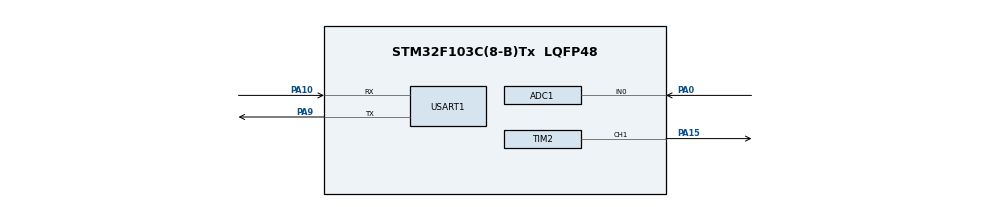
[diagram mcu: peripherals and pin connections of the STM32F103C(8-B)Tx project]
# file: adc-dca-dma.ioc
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ADC1.Channel-0\#ChannelRegularConversion=ADC_CHANNEL_0
ADC1.NbrOfConversionFlag=1
ADC1.Rank-0\#ChannelRegularConversion=1
ADC1.SamplingTime-0\#ChannelRegularConversion=ADC_SAMPLETIME_1CYCLE_5
ADC1.master=1
Dma.Request0=USART1_RX
Dma.USART1_RX.0.Direction=DMA_PERIPH_TO_MEMORY
Dma.USART1_RX.0.Instance=DMA1_Channel5
Dma.USART1_RX.0.MemDataAlignment=DMA_MDATAALIGN_BYTE
Dma.USART1_RX.0.MemInc=DMA_MINC_ENABLE
Dma.USART1_RX.0.Mode=DMA_CIRCULAR
Dma.USART1_RX.0.PeriphDataAlignment=DMA_PDATAALIGN_BYTE
Dma.USART1_RX.0.PeriphInc=DMA_PINC_DISABLE
Dma.USART1_RX.0.Priority=DMA_PRIORITY_LOW
Mcu.Family=STM32F1
Mcu.Name=STM32F103C(8-B)Tx
Mcu.Package=LQFP48
NVIC.DMA1_Channel5_IRQn=true\:0\:0\:false\:false\:true\:false\:true\:true
NVIC.PriorityGroup=NVIC_PRIORITYGROUP_4
NVIC.USART1_IRQn=true\:0\:0\:false\:false\:true\:true\:true\:true
PA0-WKUP.Signal=ADCx_IN0
PA10.Mode=Asynchronous
PA10.Signal=USART1_RX
PA13.Mode=Serial_Wire
PA13.Signal=SYS_JTMS-SWDIO
PA14.Mode=Serial_Wire
PA14.Signal=SYS_JTCK-SWCLK
PA15.Signal=S_TIM2_CH1_ETR
PA9.Mode=Asynchronous
PA9.Signal=USART1_TX
ProjectManager.HeapSize=0x200
ProjectManager.StackSize=0x400
ProjectManager.TargetToolchain=STM32CubeIDE
RCC.APB1Freq_Value=8000000
RCC.APB2Freq_Value=8000000
SH.ADCx_IN0.0=ADC1_IN0,IN0
SH.S_TIM2_CH1_ETR.0=TIM2_CH1,PWM Generation1 CH1
TIM2.Channel-PWM\ Generation1\ CH1=TIM_CHANNEL_1
TIM2.Period=255
USART1.VirtualMode=VM_ASYNC
board=custom

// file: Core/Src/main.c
/* USER CODE BEGIN Header */
/**
  ******************************************************************************
  * @file           : main.c
  * @brief          : Main program body
  ******************************************************************************
  */
/* USER CODE END Header */
#include "main.h"

/* USER CODE BEGIN Includes */
#include <stdio.h>
#include <string.h>
/* USER CODE END Includes */

/* USER CODE BEGIN PD */
/* Resistor de 10k em série com o LDR para o divisor de tensão */
#define R_FIXED 10000.0f
/* USER CODE END PD */

ADC_HandleTypeDef hadc1;

TIM_HandleTypeDef htim2;

UART_HandleTypeDef huart1;
DMA_HandleTypeDef hdma_usart1_rx;

/* USER CODE BEGIN PV */
uint16_t adc_raw = 0;
float r_ldr = 0.0f;
uint8_t res = 0; // Palavra digital de controle

// Look-up-table e buffer para DMA
uint8_t digipot_lut[256];
uint8_t uart_dma_rx_buffer[257];
/* USER CODE END PV */

void SystemClock_Config(void);
static void MX_GPIO_Init(void);
static void MX_DMA_Init(void);
static void MX_ADC1_Init(void);
static void MX_TIM2_Init(void);
static void MX_USART1_UART_Init(void);
/* USER CODE BEGIN PFP */
void Init_Default_LUT(void);
/* USER CODE END PFP */

int main(void)
{

  /* MCU Configuration--------------------------------------------------------*/

  /* Reset of all peripherals, Initializes the Flash interface and the Systick. */
  HAL_Init();

  /* Configure the system clock */
  SystemClock_Config();

  /* Initialize all configured peripherals */
  MX_GPIO_Init();
  MX_DMA_Init();
  MX_ADC1_Init();
  MX_TIM2_Init();
  MX_USART1_UART_Init();
  /* USER CODE BEGIN 2 */

  // Inicializa a LUT com uma curva linear padrão
  Init_Default_LUT();

  // Inicia o PWM (DAC) para controlar o brilho do LED acoplado ao LDR
  HAL_TIM_PWM_Start(&htim2, TIM_CHANNEL_1);

  // Inicia o modo circular de recepção UART via DMA para sobreescrever a LUT
  HAL_UART_Receive_DMA(&huart1, uart_dma_rx_buffer, 257);

  /* USER CODE END 2 */

  /* Infinite loop */
  /* USER CODE BEGIN WHILE */
  while (1)
  {
    /* 1. Atuação no PWM com base na LUT e na variável 'res' */
    uint8_t pwm_duty = digipot_lut[res];
    __HAL_TIM_SET_COMPARE(&htim2, TIM_CHANNEL_1, pwm_duty);

    /* 2. Leitura do ADC do divisor de tensão LDR + Resistor */
    HAL_ADC_Start(&hadc1);
    if (HAL_ADC_PollForConversion(&hadc1, 10) == HAL_OK)
    {
      adc_raw = HAL_ADC_GetValue(&hadc1);

      // Cálculo da resistência do LDR em função da tensão medida
      if (adc_raw > 0 && adc_raw < 4095)
      {
        r_ldr = R_FIXED * ((4095.0f / (float)adc_raw) - 1.0f);

        // Cria um texto formatado com os valores para envio
        char msg[100];
        sprintf(msg, "Entrada(res): %3d | PWM: %3d | ADC: %4d | Res LDR: %.2f Ohms\r\n", res, pwm_duty, adc_raw, r_ldr);

        // Envia o texto pela UART para exibição no computador
        HAL_UART_Transmit(&huart1, (uint8_t*)msg, strlen(msg), 100);
      }
    }
    HAL_ADC_Stop(&hadc1);

    // Delay de 2 segundos. Permite estabilização do LDR e tempo para aferição com multímetro
    HAL_Delay(2000);
    /* USER CODE END WHILE */

  }
}

void SystemClock_Config(void)
{
  RCC_OscInitTypeDef RCC_OscInitStruct = {0};
  RCC_ClkInitTypeDef RCC_ClkInitStruct = {0};
  RCC_PeriphCLKInitTypeDef PeriphClkInit = {0};

  /** Initializes the RCC Oscillators according to the specified parameters
  * in the RCC_OscInitTypeDef structure.
  */
  RCC_OscInitStruct.OscillatorType = RCC_OSCILLATORTYPE_HSI;
  RCC_OscInitStruct.HSIState = RCC_HSI_ON;
  RCC_OscInitStruct.HSICalibrationValue = RCC_HSICALIBRATION_DEFAULT;
  RCC_OscInitStruct.PLL.PLLState = RCC_PLL_NONE;
  if (HAL_RCC_OscConfig(&RCC_OscInitStruct) != HAL_OK)
  {
    Error_Handler();
  }

  /** Initializes the CPU, AHB and APB buses clocks
  */
  RCC_ClkInitStruct.ClockType = RCC_CLOCKTYPE_HCLK|RCC_CLOCKTYPE_SYSCLK
                              |RCC_CLOCKTYPE_PCLK1|RCC_CLOCKTYPE_PCLK2;
  RCC_ClkInitStruct.SYSCLKSource = RCC_SYSCLKSOURCE_HSI;
  RCC_ClkInitStruct.AHBCLKDivider = RCC_SYSCLK_DIV1;
  RCC_ClkInitStruct.APB1CLKDivider = RCC_HCLK_DIV1;
  RCC_ClkInitStruct.APB2CLKDivider = RCC_HCLK_DIV1;

  if (HAL_RCC_ClockConfig(&RCC_ClkInitStruct, FLASH_LATENCY_0) != HAL_OK)
  {
    Error_Handler();
  }
  PeriphClkInit.PeriphClockSelection = RCC_PERIPHCLK_ADC;
  PeriphClkInit.AdcClockSelection = RCC_ADCPCLK2_DIV2;
  if (HAL_RCCEx_PeriphCLKConfig(&PeriphClkInit) != HAL_OK)
  {
    Error_Handler();
  }
}

static void MX_ADC1_Init(void)
{

  ADC_ChannelConfTypeDef sConfig = {0};

  /** Common config
  */
  hadc1.Instance = ADC1;
  hadc1.Init.ScanConvMode = ADC_SCAN_DISABLE;
  hadc1.Init.ContinuousConvMode = DISABLE;
  hadc1.Init.DiscontinuousConvMode = DISABLE;
  hadc1.Init.ExternalTrigConv = ADC_SOFTWARE_START;
  hadc1.Init.DataAlign = ADC_DATAALIGN_RIGHT;
  hadc1.Init.NbrOfConversion = 1;
  if (HAL_ADC_Init(&hadc1) != HAL_OK)
  {
    Error_Handler();
  }

  /** Configure Regular Channel
  */
  sConfig.Channel = ADC_CHANNEL_0;
  sConfig.Rank = ADC_REGULAR_RANK_1;
  sConfig.SamplingTime = ADC_SAMPLETIME_1CYCLE_5;
  if (HAL_ADC_ConfigChannel(&hadc1, &sConfig) != HAL_OK)
  {
    Error_Handler();
  }

}

static void MX_TIM2_Init(void)
{

  TIM_MasterConfigTypeDef sMasterConfig = {0};
  TIM_OC_InitTypeDef sConfigOC = {0};

  htim2.Instance = TIM2;
  htim2.Init.Prescaler = 0;
  htim2.Init.CounterMode = TIM_COUNTERMODE_UP;
  htim2.Init.Period = 255;
  htim2.Init.ClockDivision = TIM_CLOCKDIVISION_DIV1;
  htim2.Init.AutoReloadPreload = TIM_AUTORELOAD_PRELOAD_DISABLE;
  if (HAL_TIM_PWM_Init(&htim2) != HAL_OK)
  {
    Error_Handler();
  }
  sMasterConfig.MasterOutputTrigger = TIM_TRGO_RESET;
  sMasterConfig.MasterSlaveMode = TIM_MASTERSLAVEMODE_DISABLE;
  if (HAL_TIMEx_MasterConfigSynchronization(&htim2, &sMasterConfig) != HAL_OK)
  {
    Error_Handler();
  }
  sConfigOC.OCMode = TIM_OCMODE_PWM1;
  sConfigOC.Pulse = 0;
  sConfigOC.OCPolarity = TIM_OCPOLARITY_HIGH;
  sConfigOC.OCFastMode = TIM_OCFAST_DISABLE;
  if (HAL_TIM_PWM_ConfigChannel(&htim2, &sConfigOC, TIM_CHANNEL_1) != HAL_OK)
  {
    Error_Handler();
  }
  HAL_TIM_MspPostInit(&htim2);

}

static void MX_USART1_UART_Init(void)
{

  huart1.Instance = USART1;
  huart1.Init.BaudRate = 9600;
  huart1.Init.WordLength = UART_WORDLENGTH_8B;
  huart1.Init.StopBits = UART_STOPBITS_1;
  huart1.Init.Parity = UART_PARITY_NONE;
  huart1.Init.Mode = UART_MODE_TX_RX;
  huart1.Init.HwFlowCtl = UART_HWCONTROL_NONE;
  huart1.Init.OverSampling = UART_OVERSAMPLING_16;
  if (HAL_UART_Init(&huart1) != HAL_OK)
  {
    Error_Handler();
  }

}

static void MX_DMA_Init(void)
{

  /* DMA controller clock enable */
  __HAL_RCC_DMA1_CLK_ENABLE();

  /* DMA interrupt init */
  /* DMA1_Channel5_IRQn interrupt configuration */
  HAL_NVIC_SetPriority(DMA1_Channel5_IRQn, 0, 0);
  HAL_NVIC_EnableIRQ(DMA1_Channel5_IRQn);

}

static void MX_GPIO_Init(void)
{

  /* GPIO Ports Clock Enable */
  __HAL_RCC_GPIOA_CLK_ENABLE();

}

/* USER CODE BEGIN 4 */
/**
  * @brief  Callback de recepção completa do DMA para a UART
  */
void HAL_UART_RxCpltCallback(UART_HandleTypeDef *huart)
{
  if (huart->Instance == USART1)
  {
    // Transfere os 256 bytes da calibração para a LUT
    for(int i = 0; i < 256; i++)
    {
      digipot_lut[i] = uart_dma_rx_buffer[i];
    }
    // O byte extra no final do pacote é a sua ordem de brilho!
    res = uart_dma_rx_buffer[256];
  }
}
/**
  * @brief  Inicializa a LUT com valores lineares
  */
void Init_Default_LUT(void)
{
  for(int i = 0; i < 256; i++)
  {
    digipot_lut[i] = (uint8_t)i;
  }
}
/* USER CODE END 4 */

void Error_Handler(void)
{
  __disable_irq();
  while (1)
  {
  }
}
